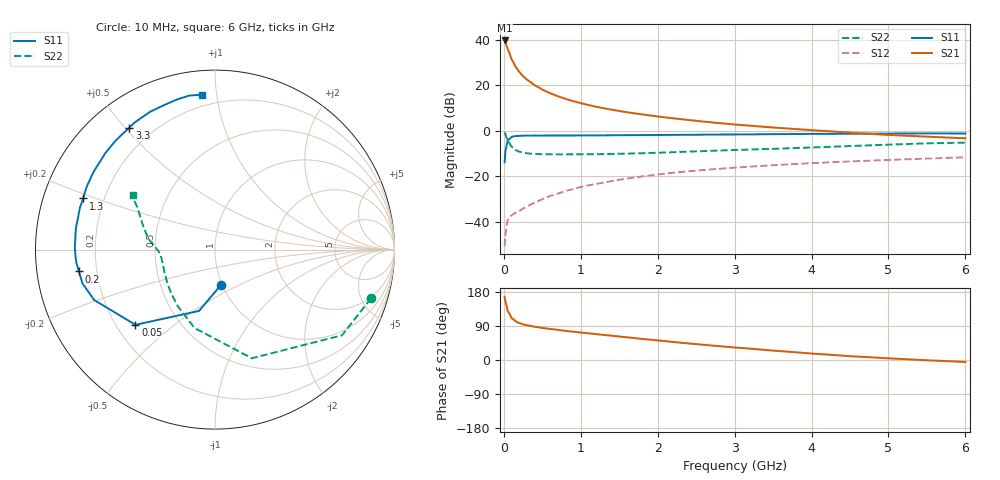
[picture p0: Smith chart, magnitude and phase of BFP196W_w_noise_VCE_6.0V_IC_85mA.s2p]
! (c) 2017  Infineon Technologies AG, Munich
! Infineon Technologies  Discrete & RF Semiconductors
! BFP196W
! VCE =  6.0 V,  IC =  85 mA
! Common Emitter S-Parameters:  Jan 2017
# GHz  S  MA  R  50
!  f  S11  S21  S12  S22
! GHz  MAG  ANG  MAG  ANG  MAG  ANG  MAG  ANG
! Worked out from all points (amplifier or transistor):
!   77 points, 10 MHz to 6 GHz, reference 50 ohm
!   highest |S21| = 39.6 dB at 10 MHz (marker M1)
!   |S21| within 3 dB of that: start of sweep to 42.08 MHz
!   unconditionally stable (mu >= 1): 528.8 MHz to 3.301 GHz
!   at 130 MHz: K = 0.53, MSG = 33.1 dB, |S12| = -36.5 dB
!   at 2.2 GHz: K = 1.03, MAG = 10.8 dB, |S12| = -18.5 dB
!   at 6 GHz: K = 0.94, MSG = 4.2 dB, |S12| = -11.7 dB
!   lowest NFmin = 1.73 dB at 450 MHz
!   S11 on the Smith chart (normalised r, x): 10 MHz: 0.98, -0.41; 50 MHz: 0.28, -0.37; 200 MHz: 0.13, -0.08; 1.3 GHz: 0.12, +0.18; 3.3 GHz: 0.12, +0.51; 6 GHz: 0.13, +0.91
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0.01  0.202 -81.2  95.75 166.7  0.0029 73.2  0.9104 -17.4
0.02  0.3531 -104.6  88.35 153.8  0.005 66.3  0.8536 -34.0
0.05  0.6101 -136.6  62.3 128.5  0.0108 52.0  0.6393 -71.3
0.1  0.7297 -157.4  37.18 110.4  0.0138 44.8  0.4511 -104.7
0.15  0.7622 -165.8  25.84 102.5  0.0156 46.0  0.3771 -123.4
0.2  0.7677 -170.9  19.63 97.6  0.017 51.6  0.3462 -134.5
0.25  0.7755 -174.4  15.8 94.1  0.0195 52.2  0.3283 -142.7
0.3  0.778 -177.0  13.19 91.7  0.0215 55.9  0.3182 -148.2
0.4  0.7813 179.1  9.975 87.7  0.0262 59.8  0.3087 -155.6
0.5  0.7803 176.1  7.984 84.6  0.0311 62.4  0.3039 -160.4
0.6  0.7822 173.5  6.67 81.9  0.0368 63.5  0.3035 -163.8
0.7  0.7836 171.2  5.712 79.6  0.0412 66.1  0.3012 -166.3
0.9  0.7833 166.9  4.442 74.7  0.052 66.0  0.3015 -169.7
1.1  0.7878 162.8  3.658 70.5  0.0629 66.0  0.3033 -172.4
1.3  0.7882 158.8  3.099 66.2  0.0725 64.8  0.3054 -174.6
1.7  0.7976 151.3  2.396 57.8  0.0936 62.6  0.3163 -178.7
2.1  0.8051 144.1  1.955 49.7  0.1138 59.1  0.3315 177.8
3.1  0.8256 128.1  1.324 31.5  0.1578 49.8  0.3802 169.5
3.3  0.8306 125.1  1.246 28.3  0.1659 48.1  0.3895 167.7
4.1  0.8491 114.0  1.001 15.7  0.1966 40.9  0.4326 159.8
5.1  0.8637 103.3  0.791 3.4  0.2304 32.7  0.4994 150.9
6  0.8665 94.9  0.678 -5.3  0.2596 25.6  0.5456 146.4
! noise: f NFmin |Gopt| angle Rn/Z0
0.45  1.73  0.57  -175  0.06
0.9  1.87  0.6  -168  0.08
1.9  2.74  0.7  -148  0.21
2.4  3.15  0.74  -143  0.34
